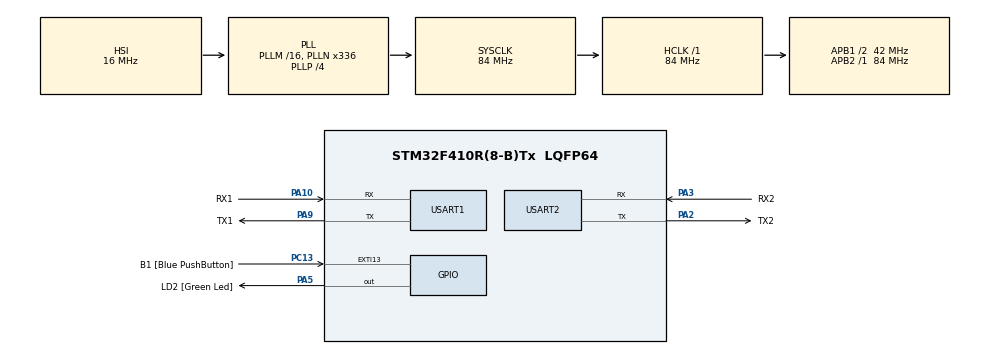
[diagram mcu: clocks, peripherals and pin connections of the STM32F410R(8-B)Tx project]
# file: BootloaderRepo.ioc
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Mcu.Family=STM32F4
Mcu.Name=STM32F410R(8-B)Tx
Mcu.Package=LQFP64
NVIC.PriorityGroup=NVIC_PRIORITYGROUP_0
NVIC.USART1_IRQn=true\:0\:0\:false\:false\:true\:true\:true
NVIC.USART2_IRQn=true\:0\:0\:false\:false\:true\:true\:true
PA10.GPIO_Label=RX1
PA10.Mode=Asynchronous
PA10.Signal=USART1_RX
PA13.GPIO_Label=TMS
PA13.Mode=Serial_Wire
PA13.Signal=SYS_JTMS-SWDIO
PA14.GPIO_Label=TCK
PA14.Mode=Serial_Wire
PA14.Signal=SYS_JTCK-SWCLK
PA2.GPIO_Label=TX2
PA2.Mode=Asynchronous
PA2.Signal=USART2_TX
PA3.GPIO_Label=RX2
PA3.Mode=Asynchronous
PA3.Signal=USART2_RX
PA5.GPIO_Label=LD2 [Green Led]
PA5.Signal=GPIO_Output
PA9.GPIO_Label=TX1
PA9.Mode=Asynchronous
PA9.Signal=USART1_TX
PB3.GPIO_Label=SWO
PB3.Signal=SYS_JTDO-SWO
PC13-ANTI_TAMP.GPIO_Label=B1 [Blue PushButton]
PC13-ANTI_TAMP.GPIO_ModeDefaultEXTI=GPIO_MODE_IT_FALLING
PC13-ANTI_TAMP.Signal=GPXTI13
PC14-OSC32_IN.Mode=LSE-External-Oscillator
PC14-OSC32_IN.Signal=RCC_OSC32_IN
PC15-OSC32_OUT.Mode=LSE-External-Oscillator
PC15-OSC32_OUT.Signal=RCC_OSC32_OUT
PH0\ -\ OSC_IN.Mode=HSE-External-Clock-Source
PH0\ -\ OSC_IN.Signal=RCC_OSC_IN
PH1\ -\ OSC_OUT.Mode=HSE-External-Clock-Source
PH1\ -\ OSC_OUT.Signal=RCC_OSC_OUT
ProjectManager.HeapSize=0x200
ProjectManager.StackSize=0x400
ProjectManager.TargetToolchain=STM32CubeIDE
RCC.48MHZClocksFreq_Value=84000000
RCC.AHBFreq_Value=84000000
RCC.APB1CLKDivider=RCC_HCLK_DIV2
RCC.APB1Freq_Value=42000000
RCC.APB1TimFreq_Value=84000000
RCC.APB2Freq_Value=84000000
RCC.APB2TimFreq_Value=84000000
RCC.CortexFreq_Value=84000000
RCC.FLatency-AdvancedSettings=FLASH_LATENCY_2
RCC.HCLKFreq_Value=84000000
RCC.HSE_VALUE=8000000
RCC.HSI_VALUE=16000000
RCC.PLLN=336
RCC.PLLP=RCC_PLLP_DIV4
RCC.SYSCLKFreq_VALUE=84000000
RCC.SYSCLKSource=RCC_SYSCLKSOURCE_PLLCLK
RCC.VCOOutputFreq_Value=336000000
USART1.VirtualMode=VM_ASYNC
USART2.VirtualMode=VM_ASYNC
VP_CRC_VS_CRC.Mode=CRC_Activate
board=NUCLEO-F410RB

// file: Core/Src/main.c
/* USER CODE BEGIN Header */
/**
  ******************************************************************************
  * @file           : main.c
  * @brief          : Main program body
  ******************************************************************************
  ** This notice applies to any and all portions of this file
  * that are not between comment pairs USER CODE BEGIN and
  * USER CODE END. Other portions of this file, whether
  * inserted by the user or by software development tools
  * are owned by their respective copyright owners.
  *
  * COPYRIGHT(c) 2020 STMicroelectronics
  *
  * Redistribution and use in source and binary forms, with or without modification,
  * are permitted provided that the following conditions are met:
  *   1. Redistributions of source code must retain the above copyright notice,
  *      this list of conditions and the following disclaimer.
  *   2. Redistributions in binary form must reproduce the above copyright notice,
  *      this list of conditions and the following disclaimer in the documentation
  *      and/or other materials provided with the distribution.
  *   3. Neither the name of STMicroelectronics nor the names of its contributors
  *      may be used to endorse or promote products derived from this software
  *      without specific prior written permission.
  *
  * THIS SOFTWARE IS PROVIDED BY THE COPYRIGHT HOLDERS AND CONTRIBUTORS "AS IS"
  * AND ANY EXPRESS OR IMPLIED WARRANTIES, INCLUDING, BUT NOT LIMITED TO, THE
  * IMPLIED WARRANTIES OF MERCHANTABILITY AND FITNESS FOR A PARTICULAR PURPOSE ARE
  * DISCLAIMED. IN NO EVENT SHALL THE COPYRIGHT HOLDER OR CONTRIBUTORS BE LIABLE
  * FOR ANY DIRECT, INDIRECT, INCIDENTAL, SPECIAL, EXEMPLARY, OR CONSEQUENTIAL
  * DAMAGES (INCLUDING, BUT NOT LIMITED TO, PROCUREMENT OF SUBSTITUTE GOODS OR
  * SERVICES; LOSS OF USE, DATA, OR PROFITS; OR BUSINESS INTERRUPTION) HOWEVER
  * CAUSED AND ON ANY THEORY OF LIABILITY, WHETHER IN CONTRACT, STRICT LIABILITY,
  * OR TORT (INCLUDING NEGLIGENCE OR OTHERWISE) ARISING IN ANY WAY OUT OF THE USE
  * OF THIS SOFTWARE, EVEN IF ADVISED OF THE POSSIBILITY OF SUCH DAMAGE.
  *
  ******************************************************************************
  */
/* USER CODE END Header */

#include "main.h"
#include<stdarg.h>
#include<string.h>

/* USER CODE BEGIN PD */
#define FLASH_SECTOR2_BASE_ADDRESS 0x08008000
#define D_UART &huart2
#define B_UART &huart1
#define BL_DEBUG_MSG_EN
#define BL_RX_LEN 1000
/* USER CODE END PD */

CRC_HandleTypeDef hcrc;

UART_HandleTypeDef huart1;
UART_HandleTypeDef huart2;

/* USER CODE BEGIN PV */
uint8_t bl_rx_buff[BL_RX_LEN];
uint8_t supported_commands[11] = {BL_GET_VER,
									BL_GET_HELP,
									BL_GET_CID,
									BL_GET_RDP_STATUS,
									BL_GO_TO_ADDR,
									BL_FLASH_ERASE,
									BL_MEM_WRITE,
									BL_ENDIS_RW_PROTECT,
									BL_MEM_READ,
									BL_READ_SECTOR_STATUS,
									BL_OTP_READ};

/* USER CODE END PV */

void SystemClock_Config(void);
static void MX_GPIO_Init(void);
static void MX_USART2_UART_Init(void);
static void MX_USART1_UART_Init(void);
static void MX_CRC_Init(void);
void debug(char *str);
void bootloader_uart_write_data(uint8_t *str, uint32_t len);
static void debugprint(char *format, ...);

/* USER CODE BEGIN 0 */
void debug(char *str)
{
	HAL_UART_Transmit(D_UART, (uint8_t*)str, strlen(str), HAL_MAX_DELAY);
}

void bootloader_uart_write_data(uint8_t *str, uint32_t len)
{
	HAL_UART_Transmit(B_UART, str, len, HAL_MAX_DELAY);
}

void debugprint(char *format, ...)
{
#ifdef BL_DEBUG_MSG_EN
	char str[1000];
	/*Extract the arguments list using Va apis */
	va_list args;
	va_start(args, format);
	vsprintf(str, format, args);
	HAL_UART_Transmit(D_UART, (uint8_t*)str, strlen(str), HAL_MAX_DELAY);
#endif
}

void bootloader_app_init()
{
	debugprint("\r\ndebug==>Bootloader Jump to Bootloader Code:");
	bootloader_RX_Buffer();
}

void user_app_init()
{
	//just a function to hold the address of the reset handler of the user app.
	void (*app_reset_handler)(void);

	debugprint("\r\ndebug==>Bootloader Jump to User Code:");

	//1. Configure the MSP by reading the value from the base address of the sector 2
	uint32_t msp_value = *(volatile uint32_t *)FLASH_SECTOR2_BASE_ADDRESS;
	debugprint("\r\ndebug==>MSP Value : %#x",msp_value);

	//This function come from CMSIS
	__set_MSP(msp_value);

	//SCB->VTOR = FLASH_SECTOR1_BASE_ADDRESS;

	/*2. Now Fetch the reset handler address of the user application
	 * from the location FLASH_SECTOR_BASE_ADDRESS+4
	 */
	uint32_t resethandler_address = *(volatile uint32_t *)(FLASH_SECTOR2_BASE_ADDRESS + 4);
	app_reset_handler = (void*) resethandler_address;

	debugprint("\r\ndebug==> App reset handler addr : %#x",app_reset_handler);

	//3. jump to reset handler of the application
	app_reset_handler();
}
/* USER CODE END 0 */

int main(void)
{

  /* MCU Configuration--------------------------------------------------------*/

  /* Reset of all peripherals, Initializes the Flash interface and the Systick. */
  HAL_Init();

  /* Configure the system clock */
  SystemClock_Config();

  /* Initialize all configured peripherals */
  MX_GPIO_Init();// We are using GPIO peripherals
  MX_USART2_UART_Init();//UART2 peripheral for Debugging
  MX_USART1_UART_Init();//UART1 peripheral for boot loader Command
  MX_CRC_Init();//CRC we are using to check data correction
  /* USER CODE BEGIN 2 */

  debugprint("\r\nBootloader Debug: HELLO! From Bootloader!\r\n");
  /* USER CODE END 2 */

  /* Infinite loop */
  /* USER CODE BEGIN WHILE */
 // while (1)
  //{
    /* USER CODE END WHILE */

	  //bootloader("Hi, This is bootloader UART Testing\r\n");
	  if(HAL_GPIO_ReadPin(B1_GPIO_Port, B1_Pin) == GPIO_PIN_RESET)
	  {
		  debugprint("\r\ndebug==> Bootloader code is Running");
		  bootloader_app_init();
	  }

	  else
	  {
		 //debugprint("\r\nDebug==> USER code is Running");
		  user_app_init();
	  }
	  //HAL_Delay(5000);
    /* USER CODE BEGIN 3 */
  //}
  /* USER CODE END 3 */
}

void bootloader_RX_Buffer()
{
	uint8_t rcv_len = 0;

	while(1)
	{
		memset(bl_rx_buff, 0, BL_RX_LEN);
		//here we will read and decode the coomands coming from host
		//first read only one byte from the host, which is the "length" field of the command packet
		HAL_UART_Receive(B_UART, bl_rx_buff, 1, HAL_MAX_DELAY);
		rcv_len = bl_rx_buff[0];
		HAL_UART_Receive(B_UART, &bl_rx_buff[1], rcv_len, HAL_MAX_DELAY);

		switch(bl_rx_buff[1])
		{
			case BL_GET_VER:
				bootloader_handle_getver_cmd(bl_rx_buff);
				break;

			case BL_GET_HELP:
				bootloader_handle_gethelp_cmd(bl_rx_buff);
				break;

			case BL_GET_CID:
				bootloader_handle_getcid_cmd(bl_rx_buff);
				break;

			case BL_GET_RDP_STATUS:
				bootloader_handle_getrdp_cmd(bl_rx_buff);
				break;

			case BL_GO_TO_ADDR:
				bootloader_handle_go_cmd(bl_rx_buff);
				break;

			case BL_FLASH_ERASE:
				bootloader_handle_flash_erase_cmd(bl_rx_buff);
				break;

			case BL_MEM_WRITE:
				bootloader_handle_mem_write_cmd(bl_rx_buff);
				break;

			case BL_ENDIS_RW_PROTECT:
				bootloader_handle_endis_rw_protect(bl_rx_buff);
				break;

			case BL_READ_SECTOR_STATUS:
				bootloader_handle_read_sector_status(bl_rx_buff);
				break;

			case BL_OTP_READ:
				bootloader_handle_read_otp(bl_rx_buff);
				break;

			/*case BL_DIS_RW_PROTECT:
				bootloader_handle_dis_rw_protect(bl_rx_buff);
				break;*/

			default:
				debugprint("\r\ndebug==> Invalid command Received from serial host.....");
				break;
		}
	}

}
void SystemClock_Config(void)
{
  RCC_OscInitTypeDef RCC_OscInitStruct = {0};
  RCC_ClkInitTypeDef RCC_ClkInitStruct = {0};

  /**Configure the main internal regulator output voltage
  */
  __HAL_RCC_PWR_CLK_ENABLE();
  __HAL_PWR_VOLTAGESCALING_CONFIG(PWR_REGULATOR_VOLTAGE_SCALE1);
  /**Initializes the CPU, AHB and APB busses clocks
  */
  RCC_OscInitStruct.OscillatorType = RCC_OSCILLATORTYPE_HSI;
  RCC_OscInitStruct.HSIState = RCC_HSI_ON;
  RCC_OscInitStruct.HSICalibrationValue = RCC_HSICALIBRATION_DEFAULT;
  RCC_OscInitStruct.PLL.PLLState = RCC_PLL_ON;
  RCC_OscInitStruct.PLL.PLLSource = RCC_PLLSOURCE_HSI;
  RCC_OscInitStruct.PLL.PLLM = 16;
  RCC_OscInitStruct.PLL.PLLN = 336;
  RCC_OscInitStruct.PLL.PLLP = RCC_PLLP_DIV4;
  RCC_OscInitStruct.PLL.PLLQ = 4;
  RCC_OscInitStruct.PLL.PLLR = 2;
  if (HAL_RCC_OscConfig(&RCC_OscInitStruct) != HAL_OK)
  {
    Error_Handler();
  }
  /**Initializes the CPU, AHB and APB busses clocks
  */
  RCC_ClkInitStruct.ClockType = RCC_CLOCKTYPE_HCLK|RCC_CLOCKTYPE_SYSCLK
                              |RCC_CLOCKTYPE_PCLK1|RCC_CLOCKTYPE_PCLK2;
  RCC_ClkInitStruct.SYSCLKSource = RCC_SYSCLKSOURCE_PLLCLK;
  RCC_ClkInitStruct.AHBCLKDivider = RCC_SYSCLK_DIV1;
  RCC_ClkInitStruct.APB1CLKDivider = RCC_HCLK_DIV2;
  RCC_ClkInitStruct.APB2CLKDivider = RCC_HCLK_DIV1;

  if (HAL_RCC_ClockConfig(&RCC_ClkInitStruct, FLASH_LATENCY_2) != HAL_OK)
  {
    Error_Handler();
  }
}

static void MX_CRC_Init(void)
{

  hcrc.Instance = CRC;
  if (HAL_CRC_Init(&hcrc) != HAL_OK)
  {
    Error_Handler();
  }

}

static void MX_USART1_UART_Init(void)
{

  huart1.Instance = USART1;
  huart1.Init.BaudRate = 115200;
  huart1.Init.WordLength = UART_WORDLENGTH_8B;
  huart1.Init.StopBits = UART_STOPBITS_1;
  huart1.Init.Parity = UART_PARITY_NONE;
  huart1.Init.Mode = UART_MODE_TX_RX;
  huart1.Init.HwFlowCtl = UART_HWCONTROL_NONE;
  huart1.Init.OverSampling = UART_OVERSAMPLING_16;
  if (HAL_UART_Init(&huart1) != HAL_OK)
  {
    Error_Handler();
  }

}

static void MX_USART2_UART_Init(void)
{

  huart2.Instance = USART2;
  huart2.Init.BaudRate = 115200;
  huart2.Init.WordLength = UART_WORDLENGTH_8B;
  huart2.Init.StopBits = UART_STOPBITS_1;
  huart2.Init.Parity = UART_PARITY_NONE;
  huart2.Init.Mode = UART_MODE_TX_RX;
  huart2.Init.HwFlowCtl = UART_HWCONTROL_NONE;
  huart2.Init.OverSampling = UART_OVERSAMPLING_16;
  if (HAL_UART_Init(&huart2) != HAL_OK)
  {
    Error_Handler();
  }

}

static void MX_GPIO_Init(void)
{
  GPIO_InitTypeDef GPIO_InitStruct = {0};

  /* GPIO Ports Clock Enable */
  __HAL_RCC_GPIOC_CLK_ENABLE();
  __HAL_RCC_GPIOH_CLK_ENABLE();
  __HAL_RCC_GPIOA_CLK_ENABLE();
  __HAL_RCC_GPIOB_CLK_ENABLE();

  /*Configure GPIO pin Output Level */
  HAL_GPIO_WritePin(LD2_GPIO_Port, LD2_Pin, GPIO_PIN_RESET);

  /*Configure GPIO pin : B1_Pin */
  GPIO_InitStruct.Pin = B1_Pin;
  GPIO_InitStruct.Mode = GPIO_MODE_IT_FALLING;
  GPIO_InitStruct.Pull = GPIO_NOPULL;
  HAL_GPIO_Init(B1_GPIO_Port, &GPIO_InitStruct);

  /*Configure GPIO pin : LD2_Pin */
  GPIO_InitStruct.Pin = LD2_Pin;
  GPIO_InitStruct.Mode = GPIO_MODE_OUTPUT_PP;
  GPIO_InitStruct.Pull = GPIO_NOPULL;
  GPIO_InitStruct.Speed = GPIO_SPEED_FREQ_LOW;
  HAL_GPIO_Init(LD2_GPIO_Port, &GPIO_InitStruct);

}

void Error_Handler(void)
{
}

/************************************** IMPLMENTATION OF BOOTLOADER COMMAND HANDLE FUNCTIONS*************************************/
void bootloader_handle_getver_cmd(uint8_t *buff)
{
	uint8_t bl_version;

	//1) verify the checksum
	debugprint("\r\ndebug==> Bootloader handle getver cmd");

	//Total length of the command packet
	uint32_t command_packet_len = bl_rx_buff[0]+1;

	//extract the CRC32 sent by the HOST
	uint32_t host_crc = *((uint32_t *)(bl_rx_buff + command_packet_len - 4) );

	if(! bootloader_verify_crc(&bl_rx_buff[0], command_packet_len - 4, host_crc))
	{
		debugprint("\r\ndebug==> checksum success !!");
		//checksum is correct
		bootloader_send_ack(buff[0],1);
		bl_version = get_bootloader_version();
		debugprint("\r\ndebug==> BL_VER :: %d %#x",bl_version,bl_version);
		bootloader_uart_write_data(&bl_version,1);
	}

	else
	{
		debugprint("\r\ndebug==> CheckSum Fail !!");
		//checksum is wrong send nack
		bootloader_send_nack();
	}
}

/******************************************************************************************************
 * Helper Function to handle BL_GET_HELP command
 * Bootloader sends out All supported Command Codes
 * *****************************************************************************************************/
void bootloader_handle_gethelp_cmd(uint8_t *buff)
{
	debugprint("\r\ndebug==> Bootloader Handle Get Help");

	//Total Length of the command packet
	uint32_t command_packet_len = bl_rx_buff[0]+1;

	//extract the CRC32 sent by the Host
	uint32_t host_crc = *((uint32_t*)(bl_rx_buff+command_packet_len - 4));

	if(! bootloader_verify_crc(&bl_rx_buff[0], command_packet_len-4, host_crc))
	{
		debugprint("\r\ndebug==> CheckSum Success !!\n");
		bootloader_send_ack(buff[0], sizeof(supported_commands));
		bootloader_uart_write_data(supported_commands, sizeof(supported_commands));
	}

	else
	{
		debugprint("\r\ndebug==> CheckSum Fail !!");
		bootloader_send_nack();
	}
}

/******************************************************************************************************
 * Bootloader Get Chip ID Command is Implemented
 * Chip ID is available on get_mcu_chip_id() function
 * *****************************************************************************************************/

void bootloader_handle_getcid_cmd(uint8_t *buff)
{
	uint16_t bl_cid_num = 0;
	debugprint("\r\ndebug==> Bootloader Handle Get CID");

	//Total Length of the command packet
	uint32_t command_packet_len = bl_rx_buff[0]+1;

	//extract the CRC32 sent by the Host
	uint32_t host_crc = *((uint32_t*)(bl_rx_buff+command_packet_len - 4));

	if(! bootloader_verify_crc(&bl_rx_buff[0], command_packet_len-4, host_crc))
	{
		debugprint("\r\ndebug==> CheckSum Success !!\n");
		bootloader_send_ack(buff[0], sizeof(supported_commands));
		bl_cid_num = get_mcu_chip_id();
		debugprint("\r\ndebug==> MCU ID :: %d %#x !!",bl_cid_num, bl_cid_num);
		bootloader_uart_write_data((uint8_t*)&bl_cid_num,2);

	}

	else
	{
		debugprint("\r\ndebug==> CheckSum Fail !!");
		bootloader_send_nack();
	}
}

/******************************************************************************************************
 * Bootloader Get Read Write Protection ON the chip available on a Option Bytes Memory Section
 * *****************************************************************************************************/

void bootloader_handle_getrdp_cmd(uint8_t *buff)
{
	uint8_t rdp_level = 0x00;
	debugprint("\r\ndebug==> Bootloader Handle Get Read Write Protection Level");

	//Total Length of the command packet
	uint32_t command_packet_len = bl_rx_buff[0]+1;

	//extract the CRC32 sent by the Host
	uint32_t host_crc = *((uint32_t*)(bl_rx_buff+command_packet_len - 4));

	if(! bootloader_verify_crc(&bl_rx_buff[0], command_packet_len-4, host_crc))
	{
		debugprint("\r\ndebug==> CheckSum Success !!\n");
		bootloader_send_ack(buff[0], 1);
		rdp_level = get_flash_rdp_level();
		debugprint("\r\ndebug==>RDP Level: %d %#x",rdp_level, rdp_level);
		bootloader_uart_write_data(&rdp_level, 1);
	}

	else
	{
		debugprint("\r\ndebug==> CheckSum Fail !!");
		bootloader_send_nack();
	}
}

void bootloader_handle_go_cmd(uint8_t *buff)
{
	uint32_t go_address =0;
	uint8_t addr_valid = ADDR_VALID;
	uint8_t addr_invalid = ADDR_INVALID;

	debugprint("\r\ndebug==> Bootloader Handle Go Command");

		//Total Length of the command packet
		uint32_t command_packet_len = bl_rx_buff[0]+1;

		//extract the CRC32 sent by the Host
		uint32_t host_crc = *((uint32_t*)(bl_rx_buff+command_packet_len - 4));

		if(! bootloader_verify_crc(&bl_rx_buff[0], command_packet_len-4, host_crc))
		{
			debugprint("\r\ndebug==> CheckSum Success !!\n");
			bootloader_send_ack(buff[0], 1);

			//extract the go address
			go_address = *((uint32_t*)&buff[2]);
			debugprint("\r\ndebug==> Go Addr :: %#x", go_address);

			if( verify_address(go_address) == ADDR_VALID)
			{
				//tell host that address is fine
				bootloader_uart_write_data(&addr_valid, 1);

				/*jump to "go" address.
				 * we don't care what is being done there.
				 * host must ensure that valid code is present over thaere
				 * Its not the duty of bootloader. So just trust and jump
				 */
				 /*Not doing the below line will result in hardfault eception From ARM Cortex M */
				//watch : https://www.youtube.com/watch?v=VX_12SjnNhY

				go_address += 1; //make T bit = 1

				void (*lets_jump)(void) = (void *)go_address;
				debugprint("\r\ndebug==> Jumping to go address !");
				lets_jump();

			}

			else
			{
				debugprint("\r\ndebug==> Go Address INVALID!!");
				//Tell Host address is invalid
				bootloader_uart_write_data(&addr_invalid, 1);
			}
		}

		else
		{
			debugprint("\r\ndebug==> CheckSum Fail !!");
			bootloader_send_nack();
		}

}

/* Helper Function to handle BL_FLASH_ERASE Command */
void bootloader_handle_flash_erase_cmd(uint8_t *buff)
{
	uint8_t erase_status = 0x00;
	debugprint("\r\ndebug==> Bootloader Handle Flash Erase Command");

	//Total length of the command packet
	uint32_t command_packet_len = bl_rx_buff[0]+1;

	//extract the CRC32 sent by the Host
	uint32_t host_crc = *((uint32_t*)(bl_rx_buff+command_packet_len - 4));

	if(! bootloader_verify_crc(&bl_rx_buff[0], command_packet_len-4, host_crc))
	{
		debugprint("\r\ndebug==> CheckSum Success !!\n");
		bootloader_send_ack(buff[0], 1);

		debugprint("\r\ndebug==> Initial Sector : %d no of Sectors :: %d",buff[2], buff[3]);

		HAL_GPIO_WritePin(LD2_GPIO_Port, LD2_Pin, GPIO_PIN_SET);
		erase_status = execute_flash_erase(buff[2], buff[3]);
		HAL_GPIO_WritePin(LD2_GPIO_Port, LD2_Pin, GPIO_PIN_RESET);

		debugprint("\r\ndebug==> Flash erase status :: %#x",erase_status);

		bootloader_uart_write_data(&erase_status, 1);
	}

	else
	{
		debugprint("\r\ndebug==> CheckSum Fail !!");
		bootloader_send_nack();
	}
}

void bootloader_handle_mem_write_cmd(uint8_t *buff)
{
	uint8_t addr_valid = ADDR_VALID;
	uint8_t write_status = 0x00;
	uint8_t chksum = 0, len = 0;
	len = buff[0];
	uint8_t payload_len = buff[6];

	uint32_t mem_address = *((uint32_t *) (&buff[2]));

	chksum = buff[len];

	debugprint("\r\ndebug==> Bootloader Handle Mem Write Command");

	//Total length of the command packet
	uint32_t command_packet_len = bl_rx_buff[0]+1;

	//extract the CRC32 sent by the Host
	uint32_t host_crc = *((uint32_t*)(bl_rx_buff+command_packet_len - 4));

	if(! bootloader_verify_crc(&bl_rx_buff[0], command_packet_len-4, host_crc))
	{
		debugprint("\r\ndebug==> CheckSum Success !!\n");
		bootloader_send_ack(buff[0], 1);

		debugprint("\r\ndebug==> Memory write address :: %#x",mem_address);

		if(verify_address(mem_address) == ADDR_VALID)
		{
			debugprint("\r\ndebug==> Valid memory Write Address");

			//Glow the led to indicate bootloader is currently writing to memory
			HAL_GPIO_WritePin(LD2_GPIO_Port, LD2_Pin, GPIO_PIN_SET);

			//execute memory write
			write_status = execute_mem_write(&buff[7], mem_address,payload_len);

			//inform host about the status
			bootloader_uart_write_data(&write_status, 1);
		}
		else
		{
			debugprint("\r\ndebug==> Invalid Memory Write Address");
			write_status = ADDR_INVALID;
			bootloader_uart_write_data(&write_status, 1);
		}
	}

	else
	{
		debugprint("\r\ndebug==> CheckSum Fail !!");
		bootloader_send_nack();
	}
}

void bootloader_handle_endis_rw_protect(uint8_t *buff)
{

}

void bootloader_handle_read_sector_status(uint8_t *buff)
{

}

void bootloader_handle_read_otp(uint8_t *buff)
{

}

void bootloader_handle_dis_rw_protect(uint8_t *buff)
{

}

/*******************Functions to implement Send ACK and NCK*******************************/
void bootloader_send_ack(uint8_t command_code, uint8_t follow_len)
{
	//Here we send 2 bytes.. first byte is ack and the second byte is len value
	uint8_t ack_buf[2];
	ack_buf[0] = BL_ACK;
	ack_buf[1] = follow_len;
	HAL_UART_Transmit(B_UART, ack_buf, 2, HAL_MAX_DELAY);
}

void bootloader_send_nack(void)
{
	uint8_t nack = BL_NACK;
	HAL_UART_Transmit(B_UART, &nack, 1, HAL_MAX_DELAY);
}

/***********************This Function Verifies the CRC of the given buffer in pData.******/
uint8_t bootloader_verify_crc(uint8_t *pData, uint32_t len, uint32_t crc_host)
{
	uint32_t uwCRCValue = 0xff;

	for(uint32_t i=0; i<len; i++)
	{
		uint32_t i_data = pData[i];
		uwCRCValue = HAL_CRC_Accumulate(&hcrc, &i_data, 1);
	}

	/*Reset CRC Calculation Unit */
	__HAL_CRC_DR_RESET(&hcrc);

	if( uwCRCValue == crc_host)
	{
		return VERIFY_CRC_SUCCESS;
	}

	return VERIFY_CRC_FAIL;
}

//Just returns the macro value
uint8_t get_bootloader_version(void)
{
	return (uint8_t)BL_VERSION;
}

//Read the chip identifier or device Identifier
/**************************************************************************************
 * The STM32F410XX MCUs integrate MCU ID code. This ID identifies the ST MCU Part no
 * and the die revision. It is part of the DBG_MCU component and is mapped on
 * external PPB bus (see Section 33.16 on page 1304). This code is accessible
 * JTAG debug pCat.2ort (4 to 5 pins) or the SW debug port (two pins) or by the
 * It is even accessible while the MCU is under system reset.
 ***************************************************************************************/
uint16_t get_mcu_chip_id(void)
{
	uint16_t cid;
	cid = (uint16_t)(DBGMCU->IDCODE) & 0x0FFF;
	return cid;
}

uint8_t get_flash_rdp_level(void)
{
	uint8_t rdp_status = 0;
#if 0
	FLASH_OBProgramInitTypeDef ob_handle;//OB Means Option Bytes
	HAL_FLASHEx_OBGetConfig(&ob_handle);
	rdp_status = (uint8_t)ob_handle.RDPLevel;
#else
	volatile uint32_t *pOB_addr = (uint32_t*) 0x1FFFC000;
	rdp_status = (uint8_t)(*pOB_addr >> 8);
#endif
	return rdp_status;
}

//So, what are the valid addresses to which we can jump?
//Can we jump to system memory? yes
//Can we jump to sram1 memory? yes
//Can we jump to sram2 memory? yes
//Can we jump to backup SRAM memory? yes
//Can we jump to peripheral memory? its possible, but don't allow, so no
//Can we jump to external memory? yes

uint8_t verify_address(uint32_t go_address)
{
//incomplete -poorly written .. optimize it
	if(go_address >= SRAM_BASE_ADDR && go_address <= SRAM_END_ADDR)
	{
		return ADDR_VALID;
	}

	/*else if( go_address >= SRAM2_BASE && go_address <= SRAM2_END)
	{
		return ADDR_VALID;
	}*/

	else if( go_address >= FLASH_BASE_ADDR && go_address <= FLASH_END_ADDR)
	{
		return ADDR_VALID;
	}

	/*else if( go_address >= BKPSRAM_BASE && go_address <= BKPSRAM_END)
	{
		return ADDR_VALID;
	}*/

	else
		return ADDR_INVALID;

}

uint8_t execute_flash_erase(uint8_t sector_number, uint8_t no_of_sector)
{
	//we have totally 5 sectors in STM32F410RB MCU... sector[0..4]
	//Number_of_sector has to be in the range of 0 to 4
	//if sector_number = 0xff, That means mass erase!
	//Code needs to modified if your MCU supports more flash sectors
	FLASH_EraseInitTypeDef flashErase_handle;
	uint32_t sectorError;
	HAL_StatusTypeDef status;

	if(no_of_sector > 5)
		return INVALID_SECTOR;

	if((sector_number == 0xff)||(sector_number <= 4))
	{
		if(sector_number == (uint8_t)0xff)
		{
			debugprint("\r\ndebug==> Entering into Mass Erase Mode");
			flashErase_handle.TypeErase = FLASH_TYPEERASE_MASSERASE;
			/* Check the parameters */
			/*assert_param(IS_VOLTAGERANGE(VoltageRange));
			assert_param(IS_FLASH_BANK(Banks));*/

			/* If the previous operation is completed, proceed to erase all sectors */
			/*CLEAR_BIT(FLASH->CR, FLASH_CR_PSIZE);
			FLASH->CR |= FLASH_CR_MER;
			FLASH->CR |= FLASH_CR_STRT | ((uint32_t)FLASH_VOLTAGE_RANGE_3 <<8U);*/
		}

		else
		{
			/*Here we are just calculating how many sectors needs to erase*/
			uint8_t remaining_sector = 5 - sector_number;
			debugprint("debug==> Entering into Sector Erase Mode");
			if(no_of_sector > remaining_sector)
			{
				no_of_sector = remaining_sector;
			}

			flashErase_handle.TypeErase = FLASH_TYPEERASE_SECTORS;
			flashErase_handle.Sector    = sector_number;//This is initial value of sector
			flashErase_handle.NbSectors = no_of_sector;
		}

		flashErase_handle.Banks = FLASH_BANK_1;

		/*Get Access to touch the flash registers */
		HAL_FLASH_Unlock();
		flashErase_handle.VoltageRange = FLASH_VOLTAGE_RANGE_3;// our MCU is in nthe voltage range of 2.7V to 3.6V
		status = (uint8_t)HAL_FLASHEx_Erase(&flashErase_handle, &sectorError);
		HAL_FLASH_Lock();

		return status;
	}

	return INVALID_SECTOR;
}

/* This function writes the contents of pBuffer to *mem_address" byte by byte */
//Note1 : Currently this function supports writing to Flash only.
//Note2 : This function does not check whether "mem_address" is a valid address
uint8_t execute_mem_write(uint8_t *pBuffer, uint32_t mem_address, uint32_t len)
{
	uint8_t status = HAL_OK;

	//We have to unlock flash module to get control of registers
	HAL_FLASH_Unlock();

	for(uint32_t i = 0; i < len; i++)
	{
		//Here we program the flash byte by byte
		status = HAL_FLASH_Program(FLASH_TYPEPROGRAM_BYTE, mem_address + 1, pBuffer[i]);
	}

	HAL_FLASH_Lock();

	return status;
}

/************************ (C) COPYRIGHT STMicroelectronics *****END OF FILE****/
